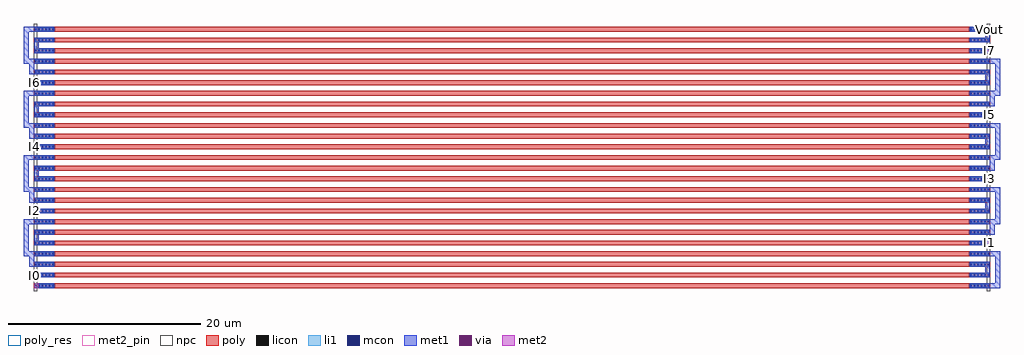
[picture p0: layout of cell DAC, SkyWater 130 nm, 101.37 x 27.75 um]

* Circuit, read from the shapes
.subckt DAC GND I0 I1 I2 I3 I4 I5 I6 I7 Vout
R1 n1 GND sky130_fd_pr__res_generic_po w=0.5 l=95
R2 n2 I0 sky130_fd_pr__res_generic_po w=0.5 l=95
R3 n2 n3 sky130_fd_pr__res_generic_po w=0.5 l=95
R4 n1 n3 sky130_fd_pr__res_generic_po w=0.5 l=95
R5 I1 n4 sky130_fd_pr__res_generic_po w=0.5 l=95
R6 n5 n4 sky130_fd_pr__res_generic_po w=0.5 l=95
R7 n5 n3 sky130_fd_pr__res_generic_po w=0.5 l=95
R8 n6 I2 sky130_fd_pr__res_generic_po w=0.5 l=95
R9 n6 n7 sky130_fd_pr__res_generic_po w=0.5 l=95
R10 n5 n7 sky130_fd_pr__res_generic_po w=0.5 l=95
R11 I3 n8 sky130_fd_pr__res_generic_po w=0.5 l=95
R12 n9 n8 sky130_fd_pr__res_generic_po w=0.5 l=95
R13 n9 n7 sky130_fd_pr__res_generic_po w=0.5 l=95
R14 n10 I4 sky130_fd_pr__res_generic_po w=0.5 l=95
R15 n10 n11 sky130_fd_pr__res_generic_po w=0.5 l=95
R16 n9 n11 sky130_fd_pr__res_generic_po w=0.5 l=95
R17 I5 n12 sky130_fd_pr__res_generic_po w=0.5 l=95
R18 n13 n12 sky130_fd_pr__res_generic_po w=0.5 l=95
R19 n13 n11 sky130_fd_pr__res_generic_po w=0.5 l=95
R20 n14 I6 sky130_fd_pr__res_generic_po w=0.5 l=95
R21 n14 n15 sky130_fd_pr__res_generic_po w=0.5 l=95
R22 n13 n15 sky130_fd_pr__res_generic_po w=0.5 l=95
R23 I7 n16 sky130_fd_pr__res_generic_po w=0.5 l=95
R24 Vout n16 sky130_fd_pr__res_generic_po w=0.5 l=95
R25 Vout n15 sky130_fd_pr__res_generic_po w=0.5 l=95
.ends

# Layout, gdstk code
import gdstk
lib = gdstk.Library(unit=1e-6, precision=1e-09)
def R(c, l, rs):  # rectangles x0, y0, x1, y1
    for r in rs: c.add(gdstk.rectangle(r[:2], r[2:], *l))
def A(c, l, x, y, w, h, nx, ny, dx, dy):  # array of equal rectangles
    R(c, l, [(x+i*dx, y+j*dy, x+i*dx+w, y+j*dy+h) for i in range(nx) for j in range(ny)])
poly_res = (66, 13)
poly = (66, 20)
licon = (66, 44)
li1 = (67, 20)
mcon = (67, 44)
met1 = (68, 20)
via = (68, 44)
met2_pin = (69, 16)
met2 = (69, 20)
npc = (95, 20)

dac = lib.new_cell('DAC')
A(dac, poly_res, -142.505, 5.34, 95, 0.5, 1, 25, 0, 1.11)
A(dac, poly, -144.655, 5.34, 99.3, 0.5, 1, 25, 0, 1.11)
A(dac, licon, -144.575, 5.505, 0.17, 0.17, 1, 25, 0, 1.11)
A(dac, licon, -45.605, 5.505, 0.17, 0.17, 1, 25, 0, 1.11)
A(dac, li1, -144.575, 5.34, 0.17, 0.5, 1, 25, 0, 1.11)
A(dac, li1, -45.605, 5.34, 0.17, 0.5, 1, 25, 0, 1.11)
A(dac, li1, -144.405, 5.42, 1.815, 0.34, 1, 25, 0, 1.11)
A(dac, li1, -47.42, 5.42, 1.815, 0.34, 1, 25, 0, 1.11)
A(dac, mcon, -144.565, 5.505, 0.17, 0.17, 6, 25, 0.36, 1.11)
A(dac, mcon, -47.415, 5.505, 0.17, 0.17, 6, 25, 0.36, 1.11)
A(dac, met1, -144.635, 5.34, 2.105, 0.5, 1, 25, 0, 1.11)
A(dac, met1, -47.48, 5.34, 2.105, 0.5, 1, 25, 0, 1.11)
A(dac, via, -144.49, 6.64, 0.15, 0.15, 1, 4, 0, 6.66)
A(dac, via, -45.685, 16.63, 0.15, 0.15, 1, 3, 0, 6.66)
R(dac, via, [(-144.49,5.525,-144.34,5.675), (-45.69,9.975,-45.54,10.125), (-45.685,32.17,-45.535,32.32)])
A(dac, met2_pin, -45.84, 9.78, 0.465, 0.5, 1, 4, 0, 6.66)
R(dac, met2_pin, [(-144.645,5.34,-144.19,5.825), (-144.645,6.45,-144.18,6.95), (-144.635,13.13,-144.19,13.61), (-144.635,19.78,-144.185,20.27), (-144.635,26.44,-144.185,26.93), (-45.84,31.98,-45.375,32.48)])
A(dac, met2, -45.84, 9.78, 0.465, 0.5, 1, 4, 0, 6.66)
A(dac, met2, -144.645, 13.115, 0.465, 0.5, 1, 3, 0, 6.66)
R(dac, met2, [(-144.645,5.33,-144.18,5.83), (-144.645,6.45,-144.18,6.95), (-45.84,9.78,-45.375,10.28), (-45.84,31.98,-45.375,32.48)])
A(dac, npc, -144.675, 5.035, 0.37, 0.37, 1, 75, 0, 0.37)
A(dac, npc, -45.705, 5.035, 0.37, 0.37, 1, 75, 0, 0.37)
dac.add(gdstk.FlexPath([(-144.385,10.89),(-144.385,10.28)], 0.5, ends="flush", simple_path=True, layer=68, datatype=20))  # met1
dac.add(gdstk.FlexPath([(-45.625,7.56),(-45.625,6.95)], 0.5, ends="flush", simple_path=True, layer=68, datatype=20))  # met1
dac.add(gdstk.FlexPath([(-45.125,10.89),(-45.125,12.25),(-44.57,12.25),(-44.57,15.58),(-45.375,15.58)], 0.5, ends="flush", simple_path=True, layer=68, datatype=20))  # met1
dac.add(gdstk.FlexPath([(-45.625,14.22),(-45.625,13.61)], 0.5, ends="flush", simple_path=True, layer=68, datatype=20))  # met1
dac.add(gdstk.FlexPath([(-45.125,5.34),(-45.125,5.59),(-44.57,5.59),(-44.57,8.92),(-45.375,8.92)], 0.5, ends="flush", simple_path=True, layer=68, datatype=20))  # met1
dac.add(gdstk.FlexPath([(-144.385,17.55),(-144.385,16.94)], 0.5, ends="flush", simple_path=True, layer=68, datatype=20))  # met1
dac.add(gdstk.FlexPath([(-45.125,17.55),(-45.125,18.91),(-44.57,18.91),(-44.57,22.24),(-45.375,22.24)], 0.5, ends="flush", simple_path=True, layer=68, datatype=20))  # met1
dac.add(gdstk.FlexPath([(-45.625,20.88),(-45.625,20.27)], 0.5, ends="flush", simple_path=True, layer=68, datatype=20))  # met1
dac.add(gdstk.FlexPath([(-144.385,24.21),(-144.385,23.6)], 0.5, ends="flush", simple_path=True, layer=68, datatype=20))  # met1
dac.add(gdstk.FlexPath([(-144.385,30.87),(-144.385,30.26)], 0.5, ends="flush", simple_path=True, layer=68, datatype=20))  # met1
dac.add(gdstk.FlexPath([(-45.125,24.21),(-45.125,25.57),(-44.57,25.57),(-44.57,28.9),(-45.375,28.9)], 0.5, ends="flush", simple_path=True, layer=68, datatype=20))  # met1
dac.add(gdstk.FlexPath([(-45.625,27.54),(-45.625,26.93)], 0.5, ends="flush", simple_path=True, layer=68, datatype=20))  # met1
dac.add(gdstk.FlexPath([(-45.625,31.98),(-45.625,31.37)], 0.5, ends="flush", simple_path=True, layer=68, datatype=20))  # met1
dac.add(gdstk.FlexPath([(-144.885,27.54),(-144.885,28.9),(-145.44,28.9),(-145.44,32.23),(-144.635,32.23)], 0.5, ends="flush", simple_path=True, layer=68, datatype=20))  # met1
dac.add(gdstk.FlexPath([(-144.885,20.88),(-144.885,22.24),(-145.44,22.24),(-145.44,25.57),(-144.635,25.57)], 0.5, ends="flush", simple_path=True, layer=68, datatype=20))  # met1
dac.add(gdstk.FlexPath([(-144.885,14.22),(-144.885,15.58),(-145.44,15.58),(-145.44,18.91),(-144.635,18.91)], 0.5, ends="flush", simple_path=True, layer=68, datatype=20))  # met1
dac.add(gdstk.FlexPath([(-144.885,7.56),(-144.885,8.92),(-145.44,8.92),(-145.44,12.25),(-144.635,12.25)], 0.5, ends="flush", simple_path=True, layer=68, datatype=20))  # met1
dac.add(gdstk.Label('I0', (-144.625,6.705), layer=69, texttype=5))
dac.add(gdstk.Label('GND', (-144.625,5.595), layer=69, texttype=5))
dac.add(gdstk.Label('I2', (-144.615,13.365), layer=69, texttype=5))
dac.add(gdstk.Label('I4', (-144.615,20.025), layer=69, texttype=5))
dac.add(gdstk.Label('I6', (-144.615,26.685), layer=69, texttype=5))
dac.add(gdstk.Label('I1', (-45.39,10.04), layer=69, texttype=5))
dac.add(gdstk.Label('I3', (-45.39,16.7), layer=69, texttype=5))
dac.add(gdstk.Label('I5', (-45.39,23.36), layer=69, texttype=5))
dac.add(gdstk.Label('I7', (-45.39,30.02), layer=69, texttype=5))
dac.add(gdstk.Label('Vout', (-45.39,32.24), layer=69, texttype=5))

lib.write_gds('DAC.gds')
